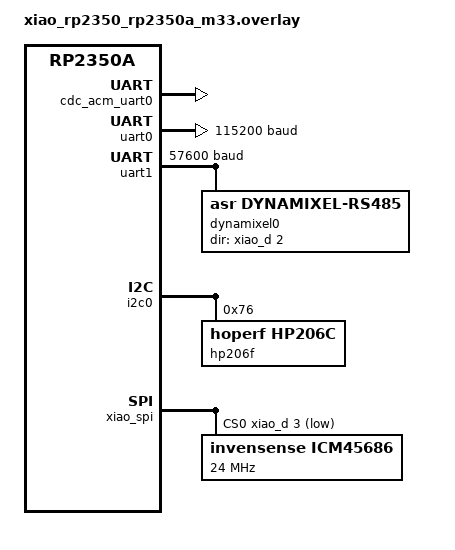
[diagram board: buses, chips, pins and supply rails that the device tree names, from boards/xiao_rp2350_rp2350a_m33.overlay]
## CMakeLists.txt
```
# SPDX-License-Identifier: Apache-2.0
cmake_minimum_required(VERSION 3.20.0)

list(APPEND ZEPHYR_EXTRA_MODULES
	${CMAKE_CURRENT_SOURCE_DIR}/../../modules/common
	${CMAKE_CURRENT_SOURCE_DIR}/../../modules/comm
	${CMAKE_CURRENT_SOURCE_DIR}/../../modules/led
	${CMAKE_CURRENT_SOURCE_DIR}/../../modules/imu
	${CMAKE_CURRENT_SOURCE_DIR}/../../modules/barometer
	${CMAKE_CURRENT_SOURCE_DIR}/../../modules/dynamixel
	${CMAKE_CURRENT_SOURCE_DIR}/../../modules/monitor
)

find_package(Zephyr REQUIRED HINTS $ENV{ZEPHYR_BASE})
project(unit_system)

target_sources(app PRIVATE src/main.c)
```

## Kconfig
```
mainmenu "ICM42688 demo application"

source "Kconfig.zephyr"
```

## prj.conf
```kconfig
# SPDX-License-Identifier: Apache-2.0

# Keep main preemptible while USB CDC logging is coming up.
CONFIG_MAIN_THREAD_PRIORITY=1

CONFIG_GPIO=y

# Common shared types and utilities
CONFIG_ASR_COMMON=y

# User LED (PWM brightness on pwm_led0 / GP25)
CONFIG_LED=y
CONFIG_PWM=y
CONFIG_LED_PWM=y
CONFIG_ASR_USR_LED=y

# WS2812 RGB NeoPixel LED (GP22, PIO0)
CONFIG_LED_STRIP=y
CONFIG_ASR_RGB_LED=y

# LED background thread (usr_led steady on, rgb_led blinks blue)
CONFIG_ASR_LED_THREAD=y

# Enable SPI bus
CONFIG_SPI=y

# Enable sensor subsystem
CONFIG_SENSOR=y
CONFIG_ICM45686=y
CONFIG_ICM45686_TRIGGER_NONE=y
CONFIG_ASR_IMU=y
CONFIG_ASR_IMU_THREAD=y
CONFIG_ASR_IMU_STARTUP_DELAY_MS=100
CONFIG_ASR_IMU_PERIOD_MS=20
CONFIG_ASR_IMU_LOG_INTERVAL_MS=5000

# HP206F barometer on I2C0 (D14/GP16 SDA, D13/GP17 SCL).
# HP206F pressure/temperature commands are compatible with Zephyr's HP206C driver.
CONFIG_I2C=y
CONFIG_HP206C=y
CONFIG_HP206C_OSR_RUNTIME=y
CONFIG_I2C_LOG_LEVEL_INF=y
CONFIG_ASR_BAROMETER=y
CONFIG_ASR_BAROMETER_THREAD=y
CONFIG_ASR_BAROMETER_OSR=1024
CONFIG_ASR_BAROMETER_STARTUP_DELAY_MS=300
CONFIG_ASR_BAROMETER_PERIOD_MS=500
CONFIG_ASR_BAROMETER_LOG_INTERVAL_MS=5000
CONFIG_ASR_BAROMETER_THREAD_STACK_SIZE=1536
CONFIG_ASR_BAROMETER_THREAD_PRIORITY=11

# Enable floating-point printf support
CONFIG_CBPRINTF_FP_SUPPORT=y

# Logging configuration
CONFIG_LOG=y
CONFIG_SENSOR_LOG_LEVEL_INF=y

# USB CDC ACM (serial over USB) — new device stack
CONFIG_USB_DEVICE_STACK_NEXT=y
CONFIG_USBD_CDC_ACM_CLASS=y
CONFIG_CDC_ACM_SERIAL_INITIALIZE_AT_BOOT=y
CONFIG_SERIAL=y
CONFIG_CONSOLE=y
CONFIG_UART_CONSOLE=y
CONFIG_UART_LINE_CTRL=y
CONFIG_USBD_LOG_LEVEL_ERR=y
CONFIG_UDC_DRIVER_LOG_LEVEL_ERR=y
CONFIG_USBD_CDC_ACM_LOG_LEVEL_OFF=y

# BCAN-S01 PROTOL CAN transport (UART0, D6=TX/GP0, D7=RX/GP1).
# The legacy AA55 UART protocol source remains available but is not enabled here.
CONFIG_ASR_TRANSPORT_BCAN_PROTOL=y
CONFIG_ASR_CAN_PROTOCOL_REQUEST_CAN_ID=0x123
CONFIG_ASR_CAN_PROTOCOL_RESPONSE_CAN_ID=0x124
CONFIG_ASR_BCAN_PROTOL_RX_QUEUE_DEPTH=8
CONFIG_ASR_BCAN_INTERBYTE_TIMEOUT_MS=20
CONFIG_ASR_CAN_PROTOCOL_THREAD_STACK_SIZE=2048
CONFIG_ASR_CAN_PROTOCOL_THREAD_PRIORITY=9

# Single-servo Dynamixel RS-485 driver on UART1 with manual DE/RE control
# on D2/GP28.
CONFIG_ASR_DYNAMIXEL=y
CONFIG_ASR_DYNAMIXEL_THREAD=y

# CPU monitor (per-thread usage logging)
CONFIG_THREAD_MONITOR=y
CONFIG_THREAD_RUNTIME_STATS=y
CONFIG_THREAD_NAME=y
CONFIG_ASR_CPU_MONITOR=y

# Wait for USB connection before startup (optional to avoid missing boot logs)
CONFIG_BOOT_DELAY=1000
```

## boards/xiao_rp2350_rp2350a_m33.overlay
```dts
/*
 * SPDX-License-Identifier: Apache-2.0
 * ICM-45686 sensor devicetree configuration
 * for Seeed XIAO RP2350 development board
 *
 * Hardware wiring:
 *   ICM-45686    XIAO RP2350
 *   ---------    -----------
 *   SPC (SCK)    D8  (GP2)
 *   SDI (MOSI)   D10 (GP3)
 *   SDO (MISO)   D9  (GP4)
 *   CS           D3  (GP5)
 *   VDD          3.3V
 *   GND          GND
 */

#include <zephyr/dt-bindings/i2c/i2c.h>
#include <zephyr/dt-bindings/sensor/icm45686.h>

/* USB CDC ACM device (console TX + interface module RX) */
&zephyr_udc0 {
	cdc_acm_uart0: cdc_acm_uart0 {
		compatible = "zephyr,cdc-acm-uart";
		/* Default Zephyr CDC ACM UART TX FIFO is 1024 bytes. */
		tx-fifo-size = <2048>;
	};
};

/ {
	chosen {
		zephyr,console = &cdc_acm_uart0;
	};

	aliases {
		asr-imu = &icm45686;
		asr-barometer = &hp206f;
	};
};

/*
 * Onboard user LED: gpio-leds (led0) and pwm-leds (pwm_led0) both use GP25
 * (PWM slice 4 channel B). If gpio-leds stays enabled, the pin stays GPIO and
 * PWM dimming never works — disable gpio-leds when using pwm_led0.
 */
&{/leds} {
	status = "disabled";
};

&{/pwm_leds} {
	status = "okay";
};

&uart0 {
	/* UART0 连接 BCAN-S01，模块默认 TTL 串口参数为 115200 8N1。 */
	current-speed = <115200>;
	status = "okay";
};

&uart1 {
	current-speed = <57600>;
	status = "okay";

	dynamixel0: dynamixel0 {
		compatible = "asr,dynamixel-rs485";
		status = "okay";
		dir-gpios = <&xiao_d 2 GPIO_ACTIVE_HIGH>; /* D2 = GP28 */
		servo-id = <1>;
		reply-timeout-us = <20000>;
		turnaround-delay-us = <2000>;
	};
};
&i2c0 {
	status = "okay";
	pinctrl-0 = <&i2c0_pullup_default>;
	pinctrl-names = "default";

	hp206f: pressure-sensor@76 {
		/* HP206F 压力/温度命令与 Zephyr HP206C driver 兼容。 */
		compatible = "hoperf,hp206c";
		reg = <0x76>;
		status = "okay";
	};
};

/* D4/GP6 预留给漏水传感器，避免 I2C1 占用 D4/D5。 */
&i2c1 {
	status = "disabled";
};

&xiao_spi {
	status = "okay";
	cs-gpios = <&xiao_d 3 GPIO_ACTIVE_LOW>;  /* D3 = GP5 */

	icm45686: icm45686@0 {
		compatible = "invensense,icm45686";
		reg = <0>;
		spi-max-frequency = <24000000>;  /* 24 MHz */

		/* Accelerometer configuration */
		accel-pwr-mode = <ICM45686_DT_ACCEL_LN>;      /* Low-noise mode */
		accel-fs = <ICM45686_DT_ACCEL_FS_16>;         /* ±16g */
		accel-odr = <ICM45686_DT_ACCEL_ODR_800>;      /* 800 Hz */

		/* Gyroscope configuration */
		gyro-pwr-mode = <ICM45686_DT_GYRO_LN>;        /* Low-noise mode */
		gyro-fs = <ICM45686_DT_GYRO_FS_500>;          /* ±500 dps */
		gyro-odr = <ICM45686_DT_GYRO_ODR_200>;        /* 200 Hz */
	};
};

/* 板载无 I2C 上拉，HP206F 使用 RP2350 内部上拉（~50kΩ）。 */
&pinctrl {
	i2c0_pullup_default: i2c0_pullup_default {
		group1 {
			pinmux = <I2C0_SDA_P16>;
			input-enable;
			bias-pull-up;
		};

		group2 {
			pinmux = <I2C0_SCL_P17>;
			input-enable;
			bias-pull-up;
		};
	};
};
```

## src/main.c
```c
/*
 * SPDX-License-Identifier: Apache-2.0
 *
 * 应用入口负责装配模块回调并管理模块生命周期。
 * UART0 连接 BCAN-S01 并运行 PROTOL CAN 传输；
 * UART1 用作 Dynamixel RS-485 总线。
 */

#include <asr/barometer_thread.h>
#include <asr/can_protocol_thread.h>
#include <asr/cpu_monitor_thread.h>
#include <asr/dynamixel.h>
#include <asr/dynamixel_thread.h>
#include <asr/imu.h>
#include <asr/imu_thread.h>
#include <asr/led_thread.h>
#include <asr/protocol_core.h>
#include <asr/robot_base.h>
#include <asr/usr_led.h>

#include <zephyr/kernel.h>
#include <zephyr/logging/log.h>

LOG_MODULE_REGISTER(unit_system, LOG_LEVEL_INF);

unit_status_t unit_status;
K_MUTEX_DEFINE(unit_status_mutex);

static void unit_system_log_banner(void)
{
	LOG_INF("==========================================");
	LOG_INF("Unit system application");
	LOG_INF("==========================================");
}

/* -------------------------------------------------------------------------
 * Protocol core callbacks
 *
 * These are registered with protocol_core so that CAN frames carrying
 * ASR protocol messages dispatch to the correct hardware module.
 * ------------------------------------------------------------------------- */

static const struct asr_comm_callbacks app_callbacks = {
	.on_led_write            = asr_usr_led_app_handle_write,
	.on_dynamixel_torque     = asr_dynamixel_app_handle_torque,
	.on_dynamixel_goal_position = asr_dynamixel_app_handle_goal_position,
	.on_dynamixel_position_read = asr_dynamixel_app_handle_position_read,
	.on_imu_read             = asr_imu_app_handle_read,
};

/* -------------------------------------------------------------------------
 * Module lifecycle
 * ------------------------------------------------------------------------- */

struct unit_module_state {
	bool dynamixel_ready;
	bool can_proto_ready;
	bool barometer_ready;
};

static struct unit_module_state unit_system_init_modules(void)
{
	struct unit_module_state state = {0};
	int ret;

	ret = asr_led_thread_init();
	if (ret < 0) {
		LOG_WRN("LED thread init failed: %d (continuing without LED)", ret);
	}

	ret = asr_cpu_monitor_thread_init();
	if (ret < 0) {
		LOG_WRN("CPU monitor thread init failed: %d (continuing without CPU monitor)", ret);
	}

	ret = asr_dynamixel_thread_init();
	if (ret < 0) {
		LOG_WRN("Dynamixel thread init failed: %d (continuing without Dynamixel)", ret);
	} else {
		state.dynamixel_ready = true;
	}

	/* Register protocol core callbacks before starting the CAN thread. */
	asr_protocol_core_register_callbacks(&app_callbacks);

	ret = asr_can_protocol_thread_init();
	if (ret < 0) {
		LOG_WRN("CAN protocol thread init failed: %d (continuing without CAN)", ret);
	} else {
		state.can_proto_ready = true;
	}

	ret = asr_imu_thread_init();
	if (ret < 0) {
		LOG_WRN("IMU thread init failed: %d (continuing without IMU)", ret);
	}

	ret = asr_barometer_thread_init();
	if (ret < 0) {
		LOG_WRN("Barometer thread init failed: %d (continuing without barometer)",
			ret);
	} else {
		state.barometer_ready = true;
	}

	return state;
}

static void unit_system_start_modules(const struct unit_module_state *state)
{
	asr_led_thread_start();
	asr_cpu_monitor_thread_start();
	if (state->dynamixel_ready) {
		asr_dynamixel_thread_start();
	}
	asr_imu_thread_start();
	if (state->can_proto_ready) {
		asr_can_protocol_thread_start();
	}
	if (state->barometer_ready) {
		int ret = asr_barometer_thread_start();

		if (ret < 0) {
			LOG_WRN("Barometer thread start failed: %d", ret);
		}
	}
}

int main(void)
{
	struct unit_module_state state;

	unit_system_log_banner();
	state = unit_system_init_modules();

	unit_system_start_modules(&state);
	LOG_INF("all modules initialised and background threads started");
	return 0;
}
```
